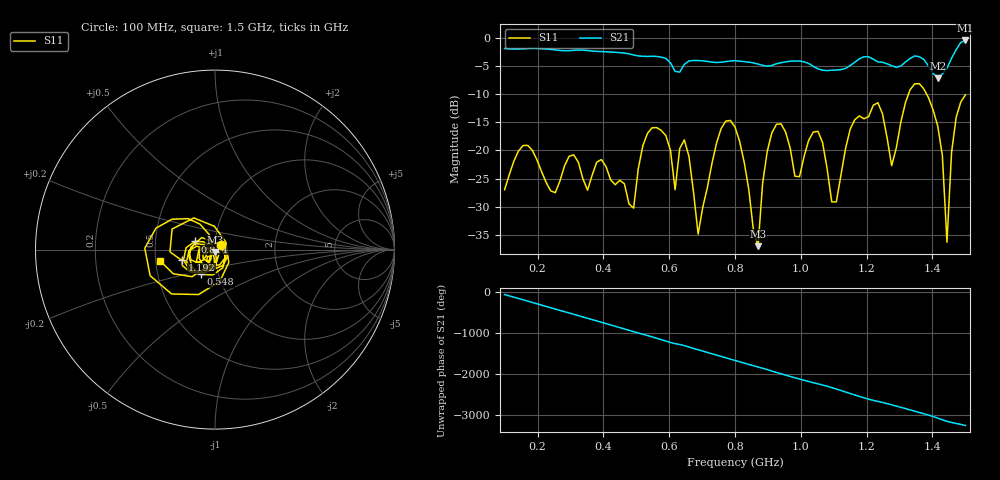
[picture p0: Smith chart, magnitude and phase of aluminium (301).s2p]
! NanoVNA-App
! Date: 2025-09-25 14:57:37
! Start: 100MHz Stop: 1,5GHz Points: 101
! S-Parameter data: F S11 S21 S12 S22
# Hz S RI R 50
!  Frequency  S11_Real  S11_Imag  S21_Real  S21_Imag  S12_Real  S12_Imag  S22_Real  S22_Imag
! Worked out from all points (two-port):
!   101 points, 100 MHz to 1.5 GHz, reference 50 ohm
!   highest |S21| = -0.50 dB at 1.5 GHz (marker M1); lowest = -7.2 dB at 1.416 GHz (marker M2)
!   |S21| within 3 dB of the highest: start of sweep to 578.3 MHz; 1.459 GHz to end of sweep (the widest 2 of 4)
!   lowest |S11| = -37.0 dB at 870 MHz (marker M3), VSWR 1.03, Z = 49.8 - j1.41 ohm
!   |S11| at or under -10 dB: start of sweep to 1.327 GHz; 1.382 GHz to end of sweep
!   S12 and S22 are empty: the file has one direction only
!   S11 on the Smith chart (normalised r, x): 100 MHz: 1.07, +0.06; 548 MHz: 0.82, -0.23; 814 MHz: 0.80, +0.07; 1.192 GHz: 0.69, -0.08; 1.5 GHz: 0.53, -0.08
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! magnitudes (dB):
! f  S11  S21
! 100 MHz  -27.0  -1.9
! 338 MHz  -25.0  -2.2
! 492 MHz  -30.2  -3.1
! 548 MHz  -16.0  -3.3
! 576 MHz  -16.5  -3.5
! 618 MHz  -26.9  -6.0
! 646 MHz  -18.1  -4.7
! 688 MHz  -34.8  -4.1
! 800 MHz  -15.9  -4.1
! 814 MHz  -18.4  -4.2
! 870 MHz  -37.0  -4.7
! 912 MHz  -16.9  -4.9
! 996 MHz  -24.6  -4.1
! 1.038 GHz  -16.7  -5.1
! 1.108 GHz  -29.1  -5.7
! 1.192 GHz  -14.4  -3.4
! 1.276 GHz  -22.7  -5.0
! 1.346 GHz  -8.2  -3.2
! 1.416 GHz  -15.7  -7.2
! 1.444 GHz  -36.2  -5.4
! 1.458 GHz  -20.3  -3.6
! 1.5 GHz  -10.1  -0.5
